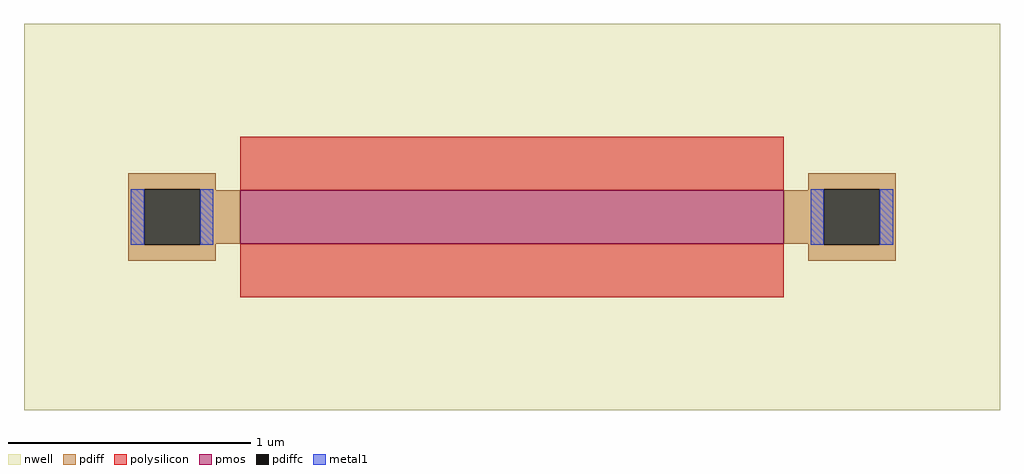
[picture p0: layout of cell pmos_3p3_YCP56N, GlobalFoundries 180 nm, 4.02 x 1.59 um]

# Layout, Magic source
magic
tech gf180mcuC
magscale 1 10
<< nwell >>
rect -402 -159 402 159
<< pmos >>
rect -224 -22 224 22
<< pdiff >>
rect -316 23 -244 36
rect -316 -23 -303 23
rect -257 22 -244 23
rect 244 23 316 36
rect 244 22 257 23
rect -257 -22 -224 22
rect 224 -22 257 22
rect -257 -23 -244 -22
rect -316 -36 -244 -23
rect 244 -23 257 -22
rect 303 -23 316 23
rect 244 -36 316 -23
<< pdiffc >>
rect -303 -23 -257 23
rect 257 -23 303 23
<< polysilicon >>
rect -224 22 224 66
rect -224 -66 224 -22
<< metal1 >>
rect -314 -23 -303 23
rect -257 -23 -246 23
rect 246 -23 257 23
rect 303 -23 314 23
<< properties >>
string gencell pmos_3p3
string library gf180mcu
string parameters w 0.220 l 2.24 m 1 nf 1 diffcov 100 polycov 100 guard 0 glc 0 grc 0 gtc 0 gbc 0 tbcov 100 rlcov 100 topc 0 botc 0 poverlap 0 doverlap 1 lmin 0.28 wmin 0.22 full_metal 0 compatible {pmos_3p3 pmos_6p0}
<< end >>
